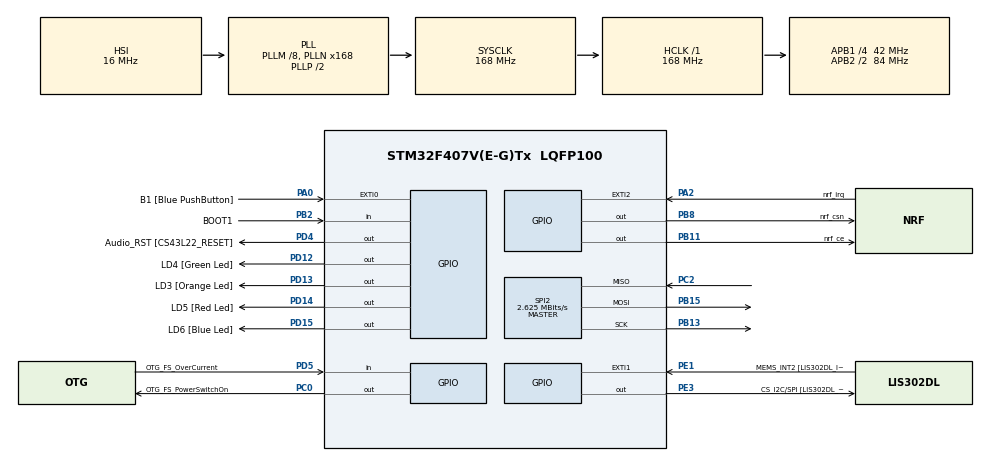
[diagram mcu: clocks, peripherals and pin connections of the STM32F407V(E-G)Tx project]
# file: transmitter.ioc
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Mcu.Family=STM32F4
Mcu.Name=STM32F407V(E-G)Tx
Mcu.Package=LQFP100
NVIC.PriorityGroup=NVIC_PRIORITYGROUP_0
PA0-WKUP.GPIO_Label=B1 [Blue PushButton]
PA0-WKUP.Signal=GPXTI0
PA10.GPIO_Label=OTG_FS_ID
PA10.GPIO_Mode=GPIO_MODE_AF_PP
PA10.GPIO_PuPd=GPIO_NOPULL
PA10.GPIO_Speed=GPIO_SPEED_FREQ_LOW
PA10.Signal=USB_OTG_FS_ID
PA11.GPIO_Label=OTG_FS_DM
PA11.GPIO_Mode=GPIO_MODE_AF_PP
PA11.GPIO_PuPd=GPIO_NOPULL
PA11.GPIO_Speed=GPIO_SPEED_FREQ_LOW
PA11.Signal=USB_OTG_FS_DM
PA12.GPIO_Label=OTG_FS_DP
PA12.GPIO_Mode=GPIO_MODE_AF_PP
PA12.GPIO_PuPd=GPIO_NOPULL
PA12.GPIO_Speed=GPIO_SPEED_FREQ_LOW
PA12.Signal=USB_OTG_FS_DP
PA13.GPIO_Label=SWDIO
PA13.Signal=SYS_JTMS-SWDIO
PA14.GPIO_Label=SWCLK
PA14.Signal=SYS_JTCK-SWCLK
PA2.GPIO_Label=nrf_irq
PA2.Signal=GPXTI2
PA4.GPIO_Label=I2S3_WS [CS43L22_LRCK]
PA4.GPIO_Mode=GPIO_MODE_AF_PP
PA4.GPIO_PuPd=GPIO_NOPULL
PA4.GPIO_Speed=GPIO_SPEED_FREQ_LOW
PA4.Signal=I2S3_WS
PA5.GPIO_Label=SPI1_SCK [LIS302DL_SCL/SPC]
PA5.GPIO_Mode=GPIO_MODE_AF_PP
PA5.GPIO_PuPd=GPIO_NOPULL
PA5.GPIO_Speed=GPIO_SPEED_FREQ_LOW
PA5.Signal=SPI1_SCK
PA6.GPIO_Label=SPI1_MISO [LIS302DL_SDO]
PA6.GPIO_Mode=GPIO_MODE_AF_PP
PA6.GPIO_PuPd=GPIO_NOPULL
PA6.GPIO_Speed=GPIO_SPEED_FREQ_LOW
PA6.Signal=SPI1_MISO
PA7.GPIO_Label=SPI1_MOSI [LIS302DL_SDA/SDI/SDO]
PA7.GPIO_Mode=GPIO_MODE_AF_PP
PA7.GPIO_PuPd=GPIO_NOPULL
PA7.GPIO_Speed=GPIO_SPEED_FREQ_LOW
PA7.Signal=SPI1_MOSI
PA9.GPIO_Label=VBUS_FS
PA9.GPIO_Mode=GPIO_MODE_INPUT
PA9.GPIO_PuPd=GPIO_NOPULL
PA9.Signal=USB_OTG_FS_VBUS
PB10.GPIO_Label=CLK_IN [MP45DT02_CLK]
PB10.GPIO_Mode=GPIO_MODE_AF_PP
PB10.GPIO_PuPd=GPIO_NOPULL
PB10.GPIO_Speed=GPIO_SPEED_FREQ_LOW
PB10.Signal=I2S2_CK
PB11.GPIO_Label=nrf_ce
PB11.Signal=GPIO_Output
PB13.Mode=Full_Duplex_Master
PB13.Signal=SPI2_SCK
PB15.Mode=Full_Duplex_Master
PB15.Signal=SPI2_MOSI
PB2.GPIO_Label=BOOT1
PB2.GPIO_Mode=GPIO_MODE_INPUT
PB2.GPIO_PuPd=GPIO_NOPULL
PB2.Signal=GPIO_Input
PB3.GPIO_Label=SWO
PB3.Signal=SYS_JTDO-SWO
PB6.GPIO_Label=Audio_SCL [CS43L22_SCL]
PB6.GPIO_Mode=GPIO_MODE_AF_OD
PB6.GPIO_PuPd=GPIO_NOPULL
PB6.GPIO_Speed=GPIO_SPEED_FREQ_LOW
PB6.Signal=I2C1_SCL
PB8.GPIO_Label=nrf_csn
PB8.Signal=GPIO_Output
PB9.GPIO_Label=Audio_SDA [CS43L22_SDA]
PB9.GPIO_Mode=GPIO_MODE_AF_OD
PB9.GPIO_PuPd=GPIO_NOPULL
PB9.GPIO_Speed=GPIO_SPEED_FREQ_LOW
PB9.Signal=I2C1_SDA
PC0.GPIO_Label=OTG_FS_PowerSwitchOn
PC0.GPIO_PuPd=GPIO_NOPULL
PC0.GPIO_Speed=GPIO_SPEED_FREQ_LOW
PC0.PinState=GPIO_PIN_SET
PC0.Signal=GPIO_Output
PC10.GPIO_Label=I2S3_SCK [CS43L22_SCLK]
PC10.GPIO_Mode=GPIO_MODE_AF_PP
PC10.GPIO_PuPd=GPIO_NOPULL
PC10.GPIO_Speed=GPIO_SPEED_FREQ_LOW
PC10.Signal=I2S3_CK
PC12.GPIO_Label=I2S3_SD [CS43L22_SDIN]
PC12.GPIO_Mode=GPIO_MODE_AF_PP
PC12.GPIO_PuPd=GPIO_NOPULL
PC12.GPIO_Speed=GPIO_SPEED_FREQ_LOW
PC12.Signal=I2S3_SD
PC14-OSC32_IN.GPIO_Label=PC14-OSC32_IN
PC14-OSC32_IN.Signal=RCC_OSC32_IN
PC15-OSC32_OUT.GPIO_Label=PC15-OSC32_OUT
PC15-OSC32_OUT.Signal=RCC_OSC32_OUT
PC2.Mode=Full_Duplex_Master
PC2.Signal=SPI2_MISO
PC3.GPIO_Label=PDM_OUT [MP45DT02_DOUT]
PC3.GPIO_Mode=GPIO_MODE_AF_PP
PC3.GPIO_PuPd=GPIO_NOPULL
PC3.GPIO_Speed=GPIO_SPEED_FREQ_LOW
PC3.Signal=I2S2_SD
PC7.GPIO_Label=I2S3_MCK [CS43L22_MCLK]
PC7.GPIO_Mode=GPIO_MODE_AF_PP
PC7.GPIO_PuPd=GPIO_NOPULL
PC7.GPIO_Speed=GPIO_SPEED_FREQ_LOW
PC7.Signal=I2S3_MCK
PD12.GPIO_Label=LD4 [Green Led]
PD12.GPIO_PuPd=GPIO_NOPULL
PD12.GPIO_Speed=GPIO_SPEED_FREQ_LOW
PD12.Signal=GPIO_Output
PD13.GPIO_Label=LD3 [Orange Led]
PD13.GPIO_PuPd=GPIO_NOPULL
PD13.GPIO_Speed=GPIO_SPEED_FREQ_LOW
PD13.Signal=GPIO_Output
PD14.GPIO_Label=LD5 [Red Led]
PD14.GPIO_PuPd=GPIO_NOPULL
PD14.GPIO_Speed=GPIO_SPEED_FREQ_LOW
PD14.Signal=GPIO_Output
PD15.GPIO_Label=LD6 [Blue Led]
PD15.GPIO_PuPd=GPIO_NOPULL
PD15.GPIO_Speed=GPIO_SPEED_FREQ_LOW
PD15.Signal=GPIO_Output
PD4.GPIO_Label=Audio_RST [CS43L22_RESET]
PD4.GPIO_PuPd=GPIO_NOPULL
PD4.GPIO_Speed=GPIO_SPEED_FREQ_LOW
PD4.Signal=GPIO_Output
PD5.GPIO_Label=OTG_FS_OverCurrent
PD5.GPIO_Mode=GPIO_MODE_INPUT
PD5.GPIO_PuPd=GPIO_NOPULL
PD5.Signal=GPIO_Input
PE1.GPIO_Label=MEMS_INT2 [LIS302DL_INT2]
PE1.GPIO_ModeDefaultEXTI=GPIO_MODE_EVT_RISING
PE1.GPIO_PuPd=GPIO_NOPULL
PE1.Signal=GPXTI1
PE3.GPIO_Label=CS_I2C/SPI [LIS302DL_CS_I2C/SPI]
PE3.GPIO_PuPd=GPIO_NOPULL
PE3.GPIO_Speed=GPIO_SPEED_FREQ_LOW
PE3.Signal=GPIO_Output
PH0-OSC_IN.GPIO_Label=PH0-OSC_IN
PH0-OSC_IN.Signal=RCC_OSC_IN
PH1-OSC_OUT.GPIO_Label=PH1-OSC_OUT
PH1-OSC_OUT.Signal=RCC_OSC_OUT
ProjectManager.HeapSize=0x200
ProjectManager.StackSize=0x400
ProjectManager.TargetToolchain=STM32CubeIDE
RCC.48MHZClocksFreq_Value=48000000
RCC.AHBFreq_Value=168000000
RCC.APB1CLKDivider=RCC_HCLK_DIV4
RCC.APB1Freq_Value=42000000
RCC.APB1TimFreq_Value=84000000
RCC.APB2CLKDivider=RCC_HCLK_DIV2
RCC.APB2Freq_Value=84000000
RCC.APB2TimFreq_Value=168000000
RCC.CortexFreq_Value=168000000
RCC.HCLKFreq_Value=168000000
RCC.HSE_VALUE=8000000
RCC.HSI_VALUE=16000000
RCC.LSE_VALUE=32768
RCC.PLLM=8
RCC.PLLN=168
RCC.PLLQ=7
RCC.SYSCLKFreq_VALUE=168000000
RCC.SYSCLKSource=RCC_SYSCLKSOURCE_PLLCLK
RCC.VCOOutputFreq_Value=336000000
SPI2.BaudRatePrescaler=SPI_BAUDRATEPRESCALER_16
SPI2.CalculateBaudRate=2.625 MBits/s
SPI2.Direction=SPI_DIRECTION_2LINES
SPI2.Mode=SPI_MODE_MASTER
SPI2.VirtualType=VM_MASTER
board=STM32F407G-DISC1

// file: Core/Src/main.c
/* USER CODE BEGIN Header */
/**
  ******************************************************************************
  * @file           : main.c
  * @brief          : Main program body
  ******************************************************************************
  * @attention
  *
  * Copyright (c) 2024 STMicroelectronics.
  * All rights reserved.
  *
  * This software is licensed under terms that can be found in the LICENSE file
  * in the root directory of this software component.
  * If no LICENSE file comes with this software, it is provided AS-IS.
  *
  ******************************************************************************
  */
/* USER CODE END Header */
#include "main.h"
#include "spi.h"
#include "gpio.h"

/* USER CODE BEGIN Includes */
#include  "nrf24l01p.h"
/* USER CODE END Includes */

/* USER CODE BEGIN PM */
#define TRANSMITTER

uint8_t rx_data[NRF24L01P_PAYLOAD_LENGTH] = {0};
uint8_t tx_data[NRF24L01P_PAYLOAD_LENGTH] = {0, 1, 2, 3, 4, 5, 6, 7};

/* USER CODE END PM */

void SystemClock_Config(void);
/* USER CODE BEGIN PFP */

int __io_putchar(int ch){
	return ITM_SendChar(ch) ;
}

/* USER CODE END PFP */

int main(void)
{

  /* MCU Configuration--------------------------------------------------------*/

  /* Reset of all peripherals, Initializes the Flash interface and the Systick. */
  HAL_Init();

  /* Configure the system clock */
  SystemClock_Config();

  /* Initialize all configured peripherals */
  MX_GPIO_Init();
  MX_SPI2_Init();
  /* USER CODE BEGIN 2 */
  LL_GPIO_SetOutputPin(nrf_ce_GPIO_Port, nrf_ce_Pin) ;
  LL_GPIO_SetOutputPin(nrf_csn_GPIO_Port , nrf_csn_Pin) ;

#ifdef RECEIVER
  	nrf24l01p_rx_init(2500, _1Mbps);
#endif

 #ifdef TRANSMITTER
	nrf24l01p_tx_init(2500, _1Mbps);
 #endif

  /* USER CODE END 2 */

  /* Infinite loop */
  /* USER CODE BEGIN WHILE */
  while (1)
  {
#ifdef RECEIVER
	  // Nothing to do
#endif

#ifdef TRANSMITTER

	  for(int i= 0; i < 8; i++)
	  {
		  tx_data[i]++;
	  }

	  nrf24l01p_tx_transmit(tx_data);
#endif

	  HAL_Delay(100);

    /* USER CODE END WHILE */

  }
}

void SystemClock_Config(void)
{
  RCC_OscInitTypeDef RCC_OscInitStruct = {0};
  RCC_ClkInitTypeDef RCC_ClkInitStruct = {0};

  /** Configure the main internal regulator output voltage
  */
  __HAL_RCC_PWR_CLK_ENABLE();
  __HAL_PWR_VOLTAGESCALING_CONFIG(PWR_REGULATOR_VOLTAGE_SCALE1);

  /** Initializes the RCC Oscillators according to the specified parameters
  * in the RCC_OscInitTypeDef structure.
  */
  RCC_OscInitStruct.OscillatorType = RCC_OSCILLATORTYPE_HSI;
  RCC_OscInitStruct.HSIState = RCC_HSI_ON;
  RCC_OscInitStruct.HSICalibrationValue = RCC_HSICALIBRATION_DEFAULT;
  RCC_OscInitStruct.PLL.PLLState = RCC_PLL_ON;
  RCC_OscInitStruct.PLL.PLLSource = RCC_PLLSOURCE_HSI;
  RCC_OscInitStruct.PLL.PLLM = 8;
  RCC_OscInitStruct.PLL.PLLN = 168;
  RCC_OscInitStruct.PLL.PLLP = RCC_PLLP_DIV2;
  RCC_OscInitStruct.PLL.PLLQ = 7;
  if (HAL_RCC_OscConfig(&RCC_OscInitStruct) != HAL_OK)
  {
    Error_Handler();
  }

  /** Initializes the CPU, AHB and APB buses clocks
  */
  RCC_ClkInitStruct.ClockType = RCC_CLOCKTYPE_HCLK|RCC_CLOCKTYPE_SYSCLK
                              |RCC_CLOCKTYPE_PCLK1|RCC_CLOCKTYPE_PCLK2;
  RCC_ClkInitStruct.SYSCLKSource = RCC_SYSCLKSOURCE_PLLCLK;
  RCC_ClkInitStruct.AHBCLKDivider = RCC_SYSCLK_DIV1;
  RCC_ClkInitStruct.APB1CLKDivider = RCC_HCLK_DIV4;
  RCC_ClkInitStruct.APB2CLKDivider = RCC_HCLK_DIV2;

  if (HAL_RCC_ClockConfig(&RCC_ClkInitStruct, FLASH_LATENCY_5) != HAL_OK)
  {
    Error_Handler();
  }
}

void Error_Handler(void)
{
  __disable_irq();
  while (1)
  {
  }
}
